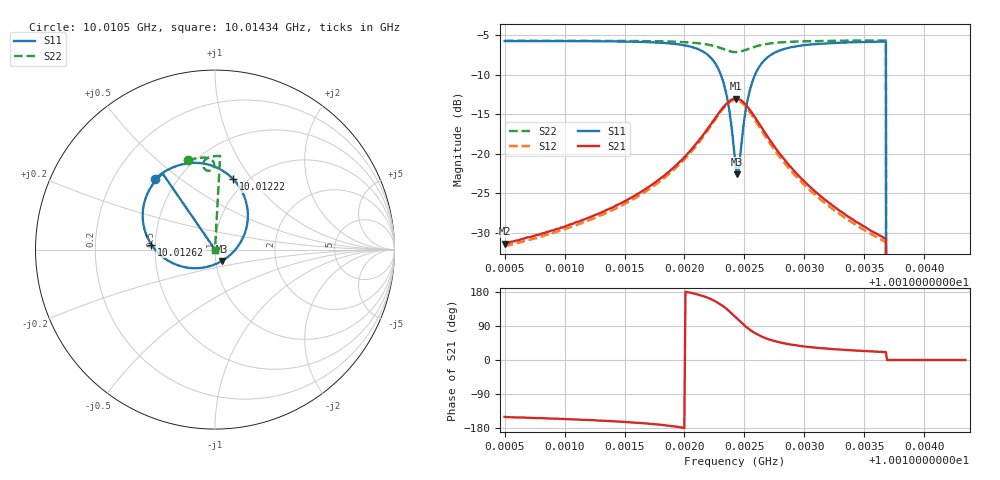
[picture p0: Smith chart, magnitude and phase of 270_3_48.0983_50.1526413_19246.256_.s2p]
#  HZ  S  RI  R  50.00
! Rohde & Schwarz Vector Network Analyzer
! Rohde-Schwarz,ZNB20-2Port,1311601062101988,3.16
! Created: UTC 12/23/2023, 4:01:40 AM
! freq[Hz]  re:S11  im:S11  re:S21  im:S21  re:S12  im:S12  re:S22  im:S22
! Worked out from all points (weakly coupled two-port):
!   401 points, 10.0105 GHz to 10.01434 GHz, reference 50 ohm
!   highest |S21| = -13.00 dB at 10.01243 GHz (marker M1); lowest = -31.4 dB at 10.0105 GHz (marker M2)
!   lowest |S11| = -22.6 dB at 10.01244 GHz (marker M3), VSWR 1.16, Z = 53.6 - j6.81 ohm
!   |S11| at or under -10 dB: 10.0123 GHz to 10.01259 GHz (284.4 kHz wide, 0.00284 % of centre); 10.01368 GHz to end of sweep
!   |S22| runs from - to -5.6 dB; largest |S21 - S12| = 0.011
!   S11 on the Smith chart (normalised r, x): 10.0105 GHz: 0.38, +0.41; 10.01222 GHz: 0.87, +0.82; 10.01262 GHz: 0.48, +0.03; 10.01434 GHz: 1.00, +0.00
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1.00105e10  -0.3366 0.3932  -0.0234 -0.0134  -0.0219 -0.014  -0.151 0.497
1.0011144e10  -0.2797 0.4349  -0.0351 -0.0143  -0.0329 -0.0155  -0.1077 0.5082
1.001147e10  -0.2354 0.4577  -0.0465 -0.0144  -0.0439 -0.0161  -0.0834 0.512
1.0011787e10  -0.1641 0.4787  -0.0676 -0.0115  -0.0645 -0.0146  -0.0565 0.5129
1.0012066e10  -0.0335 0.4726  -0.1081 0.00669  -0.1051 0.000504  -0.0265 0.5052
1.001222e10  0.1004 0.3936  -0.1453 0.0503  -0.144 0.0416  -0.00808 0.4876
1.0012287e10  0.1622 0.2981  -0.1562 0.0923  -0.1577 0.0821  -0.00397 0.4718
1.0012335e10  0.1832 0.1924  -0.1525 0.1324  -0.1556 0.1233  -0.00674 0.4579
1.0012373e10  0.1667 0.0923  -0.1352 0.1677  -0.1396 0.1593  -0.0142 0.4474
1.0012421e10  0.0877 -0.0272  -0.0929 0.2035  -0.0977 0.1965  -0.0307 0.4398
1.0012431e10  0.063 -0.0473  -0.0818 0.2084  -0.0876 0.2009  -0.0343 0.4395
1.001244e10  0.0392 -0.0631  -0.0715 0.2117  -0.0768 0.2046  -0.038 0.4397
1.001246e10  -0.0155 -0.0884  -0.0493 0.2151  -0.0547 0.2084  -0.0451 0.441
1.0012498e10  -0.1272 -0.1034  -0.00668 0.2098  -0.0118 0.2036  -0.0569 0.4481
1.0012536e10  -0.2231 -0.081  0.0273 0.1922  0.021 0.1863  -0.0642 0.4587
1.0012575e10  -0.297 -0.0363  0.0505 0.1688  0.0435 0.1639  -0.0668 0.4696
1.0012623e10  -0.3544 0.0277  0.0651 0.1406  0.0585 0.1363  -0.0657 0.4813
1.0012805e10  -0.402 0.213  0.068 0.0699  0.0624 0.0691  -0.0472 0.5062
1.0013065e10  -0.3681 0.329  0.05 0.0333  0.0462 0.0336  -0.0206 0.5172
1.001366e10  -0.2936 0.4217  0.0274 0.0106  0.0256 0.0113  0.0271 0.5217
1.0013708e10  0 0  0 0  0 0  0 0
1.0014342e10  0 0  0 0  0 0  0 0
